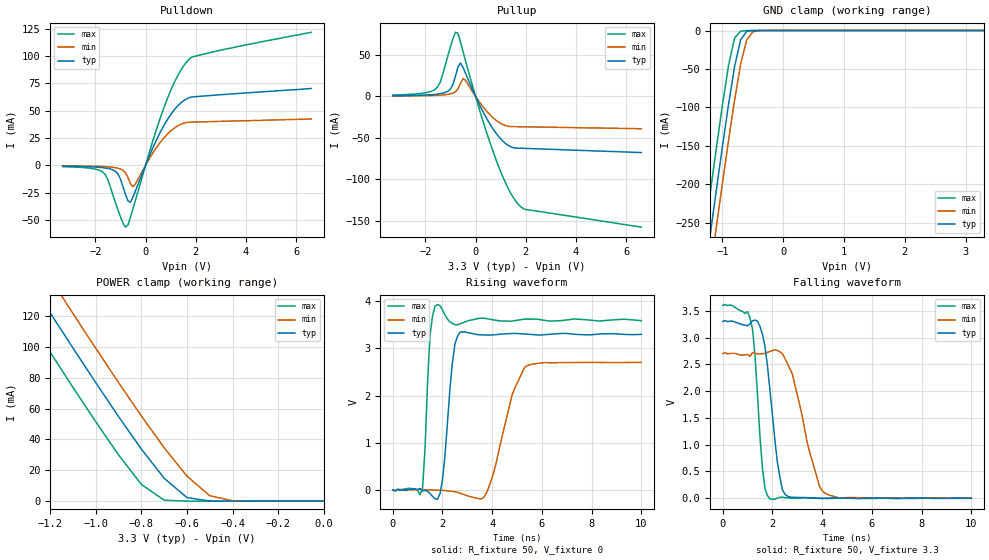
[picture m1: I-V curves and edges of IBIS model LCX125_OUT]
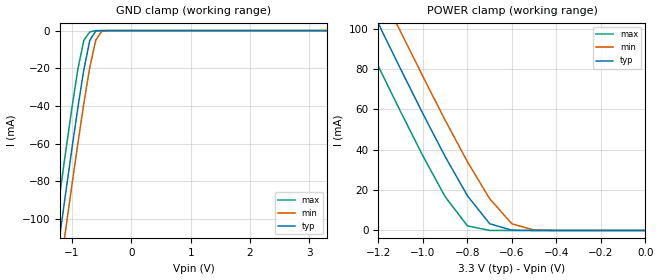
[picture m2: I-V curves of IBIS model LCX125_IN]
| IBIS file for Motorola MC74LCX125 created by
| Symmetry Design Systems, Inc. (415)949-9600
[IBIS ver]   2.1
[File name]   lcx125.ibs
[File Rev]   1.0
[Date]   Dec 1, 1997
[Source]   Motorola spice models
[Notes]   The Pulldown and Pullup curves are the difference of the
   enabled buffer's curves,  so there are some non-monotonic
   points.
[Disclaimer]   This information is for modeling purpose only.
[Copyright]   Copyright 1997 by Motorola
|   Component MC74LCX125
[Component]   MC74LCX125
[Manufacturer]   Motorola
[Package]
|variable   typ   min   max
R_pkg   125.00m   100.00m   150.00m
L_pkg   5.00nH   3.29nH   7.22nH
C_pkg   0.48pF   0.28pF   0.74pF
[Pin]  signal_name   model_name   R_pin   L_pin   C_pin
1   OE0_   LCX125_IN
2   D0   LCX125_IN
3   O0   LCX125_OUT
4   OE1_   LCX125_IN
5   D1   LCX125_IN
6   O1   LCX125_OUT
7   GND   GND
8   O2   LCX125_OUT
9   D2   LCX125_IN
10   OE2_   LCX125_IN
11   O3   LCX125_OUT
12   D3   LCX125_IN
13   OE3_   LCX125_IN
14   VCC   POWER
| Models and submodels in the file (2): LCX125_OUT (3-state), LCX125_IN (Input)
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|   Model LCX125_OUT
[Model]   LCX125_OUT
Model_type  3-state
Polarity   Inverting
Cref  = 10.00p
Rref  = 50.00
Vref  = 0
|Variable   typ   min   max
C_comp   3.4p   2.0p   6.0p
|Variable   typ   min   max
[Voltage Range]   3.3   2.7   3.6
|Variable   typ   min   max
[Temperature Range]  27   85   -40
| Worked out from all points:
|   slope of the pulldown table from 0 to 0.495 V, typ, clamps not added: 18.9 ohm
|   slope of the pullup table from 0 to 0.495 V, typ, clamps not added: 16.9 ohm
|   GND clamp passes 1 mA (typ) near -0.59 V on its own axis
|   POWER clamp passes 1 mA (typ) near -0.54 V on its own axis
|   rising waveform, R_fixture 50, V_fixture 0: 20-80 % time 301ps typ, 771ps min, 180ps max; typ from 0 V to 3.3 V
|   falling waveform, R_fixture 50, V_fixture 3.3: 20-80 % time 450ps typ, 816ps min, 315ps max; typ from 3.3 V to 0 V
[Pulldown]
|Volts   I(typ)   I(min)   I(max)
-3.3V     -800uA     -400uA     -1.2mA
-1.7V     -2.2mA     -1.1mA     -6.3mA
-1.5V     -2.8mA     -1.5mA     -13.4mA
-1.1V     -7.9mA     -2.7mA     -40.8mA
-800mV    -26.81mA   -6.82mA    -56.62mA
-600mV    -33.75mA   -17.07mA   -47.33mA
-500mV    -28.95mA   -19.63mA   -39.58mA
300mV     16.53mA    11.66mA    23.21mA
800mV     39.2mA     26.84mA    56.98mA
1.3V      54.82mA    36.27mA    82.86mA
1.7V      61.55mA    39.38mA    96.28mA
6.6V      70.3mA     42.4mA     121.7mA
[Pullup]
|Volts   I(typ)   I(min)   I(max)
-3.3V     800uA      500uA      1.8mA
-1.6V     2.5mA      1.3mA      8.8mA
-1.4V     3.4mA      1.7mA      17.8mA
-1V       8.99mA     3.19mA     60mA
-800mV    24.66mA    5.69mA     77.35mA
-700mV    35.5mA     9.05mA     76.09mA
-600mV    40.39mA    15.62mA    65.35mA
-400mV    27.88mA    19.48mA    43mA
700mV     -39.35mA   -25.86mA   -66.78mA
1.2V      -56.93mA   -35.22mA   -104.7mA
1.7V      -62.39mA   -36.5mA    -130.2mA
6.6V      -67.7mA    -38.9mA    -157.7mA
[GND Clamp]
|Volts   I(typ)   I(min)   I(max)
-3.3V     -1.535A    -1.58A     -1.484A
-1.3V     -324mA     -372mA     -269.5mA
-1.2V     -265.4mA   -313.5mA   -210.8mA
-1.1V     -207.6mA   -255.6mA   -153.1mA
-1V       -151mA     -198.7mA   -97.17mA
-900mV    -96.51mA   -143.3mA   -45.6mA
-800mV    -46.96mA   -90.52mA   -9.688mA
-700mV    -11.91mA   -43.73mA   -885.2uA
-600mV    -1.072mA   -12.26mA   -19.7uA
-500mV    -29.16uA   -1.656mA   0A
-400mV    0A         -84.98uA   0A
3.3V      0A         8.566uA    0A
[POWER Clamp]
|Volts   I(typ)   I(min)   I(max)
-3.3V     617.4mA    638.8mA    593.2mA
-1.4V     168.1mA    190.4mA    142.8mA
-1.3V     145mA      167.3mA    119.5mA
-1.2V     122mA      144.4mA    96.5mA
-1.1V     99.22mA    121.6mA    73.73mA
-900mV    54.77mA    76.82mA    29.92mA
-800mV    33.7mA     55.2mA     10.8mA
-700mV    14.78mA    34.58mA    612.8uA
-600mV    2.293mA    16.18mA    4.79uA
-500mV    68.87uA    3.492mA    0A
-400mV    1.457uA    212.8uA    0A
0V        0A         0A         0A
[Ramp]
|Variable   typ   min   max
dV/dt_r  1.87/0.28n  1.63/0.68n  2.02/0.16n
dV/dt_f  2.03/0.44n  1.61/0.72n  2.25/0.32n
[Rising Waveform]
R_fixture = 50
V_fixture = 0
C_fixture = 0.0p
|Time   V(typ)   V(min)   V(max)
0s        0V         0V         0V
1.2ns     -22.05mV   5.816mV    28.84mV
1.5ns     -75.08mV   4.481mV    3.268V
1.8ns     -198.4mV   -4.883mV   3.929V
2ns       203.6mV    -9.088mV   3.816V
2.4ns     2.691V     -31.56mV   3.531V
2.7ns     3.337V     -66.65mV   3.517V
3.7ns     3.284V     -132.1mV   3.636V
5.4ns     3.301V     2.632V     3.62V
10ns      3.296V     2.702V     3.587V
[Falling Waveform]
R_fixture = 50
C_fixture = 0.0p
V_fixture = 3.3
V_fixture_min = 2.7
V_fixture_max = 3.6
|Time   V(typ)   V(min)   V(max)
0s        3.3V       2.7V       3.6V
1.1ns     3.255V     2.649V     3.359V
1.3ns     3.325V     2.71V      2.663V
1.6ns     3.057V     2.699V     554.2mV
1.9ns     2.017V     2.741V     -10.66mV
2.2ns     668.9mV    2.76V      2.997mV
2.4ns     158mV      2.699V     18.79mV
2.8ns     18.28mV    2.319V     1.823mV
4.1ns     177.4uV    100.7mV    -5.1mV
10ns      184.2uV    2.154mV    -191.3uV
|   Model LCX125_IN
[Model]   LCX125_IN
Model_type  Input
Vinl = 0.8
Vinh = 2.0
|Variable   typ   min   max
C_comp   3.4p   2.0p   6.0p
|Variable   typ   min   max
[Voltage Range]   3.3   2.7   3.6
|Variable   typ   min   max
[Temperature Range]  27   85   -40
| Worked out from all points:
|   GND clamp passes 1 mA (typ) near -0.62 V on its own axis
|   POWER clamp passes 1 mA (typ) near -0.63 V on its own axis
[GND Clamp]
|Volts   I(typ)   I(min)   I(max)
-3.3V     -607.7mA   -626.2mA   -587mA
-1.3V     -130.6mA   -150mA     -108.6mA
-1.2V     -107.5mA   -126.9mA   -85.46mA
-1.1V     -84.64mA   -104.1mA   -62.72mA
-1V       -62.25mA   -81.57mA   -40.67mA
-900mV    -40.62mA   -59.58mA   -20.23mA
-800mV    -20.61mA   -38.52mA   -5.12mA
-700mV    -5.167mA   -19.36mA   -701.9uA
-600mV    -253.3uA   -5.097mA   -18.35uA
-500mV    -6.959uA   -380.8uA   0A
-300mV    0A         0A         0A
3.3V      0A         0A         0A
[POWER Clamp]
|Volts   I(typ)   I(min)   I(max)
-3.3V     596.9mA    614.4mA    577.3mA
-1.3V     125.2mA    143.7mA    104.1mA
-1.2V     102.4mA    120.9mA    81.22mA
-1.1V     79.83mA    98.38mA    58.72mA
-1V       57.77mA    76.2mA     36.88mA
-900mV    36.53mA    54.6mA     16.67mA
-800mV    17.18mA    34.02mA    2.259mA
-700mV    3.32mA     15.71mA    24.72uA
-600mV    116.6uA    3.278mA    0A
-500mV    2.482uA    194.6uA    0A
0V        0A         0A         0A
